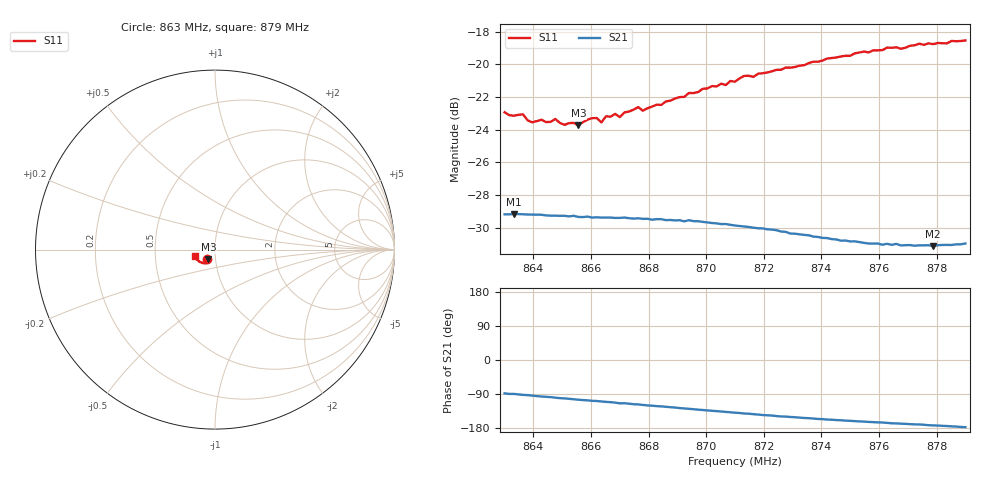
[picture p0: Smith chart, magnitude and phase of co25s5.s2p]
# HZ S RI R 50
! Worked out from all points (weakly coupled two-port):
!   101 points, 863 MHz to 879 MHz, reference 50 ohm
!   highest |S21| = -29.15 dB at 863.32 MHz (marker M1); lowest = -31.1 dB at 877.88 MHz (marker M2)
!   lowest |S11| = -23.7 dB at 865.56 MHz (marker M3), VSWR 1.14, Z = 46.2 - j5.01 ohm
!   |S11| at or under -10 dB: start of sweep to end of sweep
!   S12 and S22 are empty: the file has one direction only
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8.63e8  -0.0454 -0.0551  0.00117 -0.0348  0 0  0 0
8.6332e8  -0.0435 -0.0544  0.000332 -0.0349  0 0  0 0
8.6364e8  -0.0435 -0.0553  -0.00125 -0.0348  0 0  0 0
8.6396e8  -0.0397 -0.0533  -0.00234 -0.0346  0 0  0 0
8.6476e8  -0.0395 -0.0554  -0.00564 -0.034  0 0  0 0
8.6508e8  -0.0347 -0.0554  -0.00677 -0.0338  0 0  0 0
8.6556e8  -0.0364 -0.054  -0.0087 -0.033  0 0  0 0
8.6572e8  -0.0331 -0.0577  -0.0093 -0.0328  0 0  0 0
8.662e8  -0.0359 -0.0583  -0.0107 -0.0324  0 0  0 0
8.6636e8  -0.033 -0.0577  -0.0113 -0.0321  0 0  0 0
8.6652e8  -0.0338 -0.0606  -0.0119 -0.0319  0 0  0 0
8.67e8  -0.0378 -0.0577  -0.014 -0.0309  0 0  0 0
8.6764e8  -0.0351 -0.0652  -0.0155 -0.0301  0 0  0 0
8.678e8  -0.0343 -0.0635  -0.0161 -0.0296  0 0  0 0
8.6844e8  -0.0349 -0.0665  -0.018 -0.0284  0 0  0 0
8.694e8  -0.0402 -0.0712  -0.0209 -0.026  0 0  0 0
8.71e8  -0.0483 -0.0742  -0.0243 -0.0211  0 0  0 0
8.7132e8  -0.0519 -0.0762  -0.0249 -0.02  0 0  0 0
8.7372e8  -0.0692 -0.0748  -0.0268 -0.0128  0 0  0 0
8.7644e8  -0.0935 -0.0623  -0.0274 -0.0063  0 0  0 0
8.7788e8  -0.104 -0.0497  -0.0276 -0.00358  0 0  0 0
8.79e8  -0.1121 -0.0377  -0.0283 -0.00138  0 0  0 0
